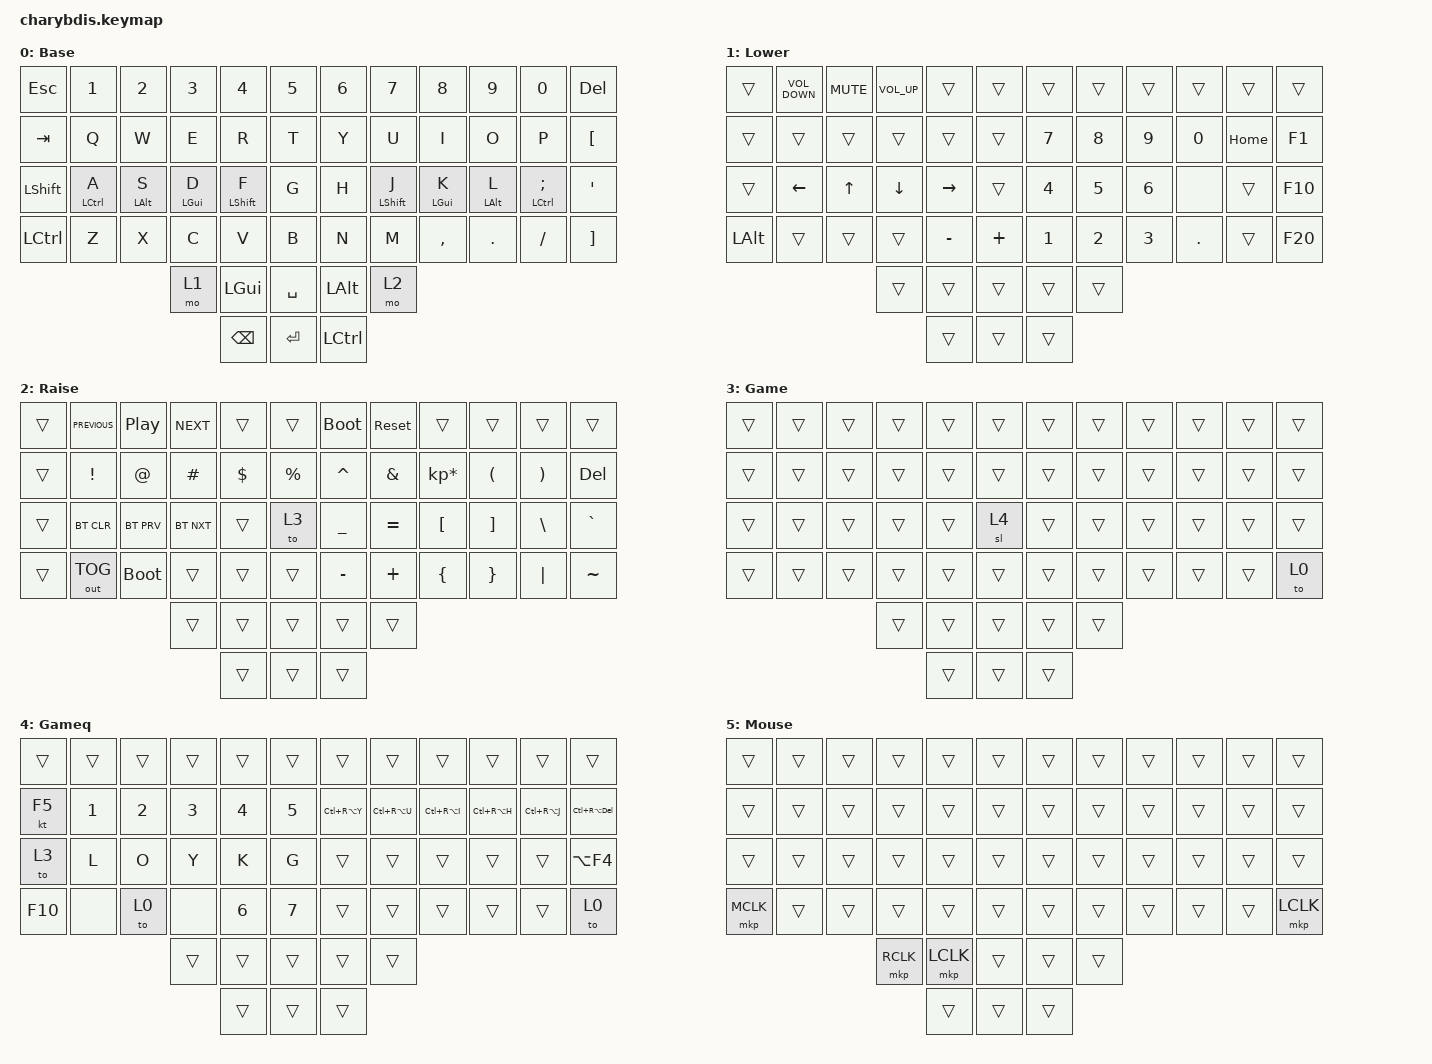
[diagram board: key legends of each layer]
#include <behaviors.dtsi>
#include <dt-bindings/zmk/keys.h>
#include <dt-bindings/zmk/bt.h>
#include <dt-bindings/zmk/ext_power.h>
#include <dt-bindings/zmk/mouse.h>
#include <dt-bindings/zmk/outputs.h>

/ {
    combos {
        compatible = "zmk,combos";

        ParaLeft {
            bindings = <&kp LEFT_PARENTHESIS>;
            key-positions = <4 16>;
        };

        ParaRight {
            bindings = <&kp RIGHT_PARENTHESIS>;
            key-positions = <7 19>;
        };

        bootloaderLeft {
            bindings = <&bootloader>;
            key-positions = <0 13>;
        };
        bootloaderRight {
            bindings = <&bootloader>;
            key-positions = <11 22>;
        };
        resetLeft {
            bindings = <&sys_reset>;
            key-positions = <0 12>;
        };
        resetRight {
            bindings = <&sys_reset>;
            key-positions = <11 23>;
        };
    };

    trackball_listener {
        compatible = "zmk,input-behavior-listener";
        device = <&vtrackball>;
        layers = <0 2 3 4 5>;
        evt-type = <INPUT_EV_REL>;
        x-input-code = <INPUT_REL_X>;
        y-input-code = <INPUT_REL_Y>;
        scale-multiplier = <1>;
        scale-divisor = <1>;
        bindings = <&ib_toggle_layer 5>;
    };

    trackball_snipe_listener {
        compatible = "zmk,input-behavior-listener";   
        device = <&vtrackball>;
        layers = <>;
        evt-type = <INPUT_EV_REL>;
        x-input-code = <INPUT_REL_X>;
        y-input-code = <INPUT_REL_Y>;
        scale-multiplier = <1>;
        scale-divisor = <4>;
    };

    trackball_scroll_listener {
        compatible = "zmk,input-behavior-listener";
        device = <&vtrackball>;
        layers = <1>;
        evt-type = <INPUT_EV_REL>;            
        x-input-code = <INPUT_REL_MISC>;
        y-input-code = <INPUT_REL_WHEEL>;
        y-invert;
        bindings = <&ib_wheel_scaler 1 16>;
    };

    ib_wheel_scaler: ib_wheel_scaler {
        compatible = "zmk,input-behavior-scaler";
        #binding-cells = <2>;
        evt-type = <INPUT_EV_REL>;
        input-code = <INPUT_REL_WHEEL>;
    };

    ib_toggle_layer: ib_toggle_layer {
        compatible = "zmk,input-behavior-tog-layer";
        #binding-cells = <1>;
        time-to-live-ms = <750>;
    };

    behaviors {
        lt: layer_tap {
            compatible = "zmk,behavior-hold-tap";
            #binding-cells = <2>;
            flavor = "balanced";
            tapping-term-ms = <240>;
            quick-tap-ms = <150>;
            bindings = 
                <&mo>,
                <&kp>;
        };

        rpi: require_prior_idle {
            compatible = "zmk,behavior-hold-tap";
            #binding-cells = <2>;
            flavor = "tap-preferred";
            tapping-term-ms = <200>;
            quick-tap-ms = <200>;
            require-prior-idle-ms = <125>;
            bindings = <&kp>, <&kp>;
        };
    };

    keymap {
        compatible = "zmk,keymap";

        Base {
            label = "Base";
            display-name = "Base";
            bindings = <
            // ╭─────────────┬─────────────────┬────────────────┬───────────────┬───────────────┬─────────────╮   ╭─────────────┬─────────────┬─────────────┬─────────────┬─────────────┬─────────────╮
                   &kp ESC          &kp N1         &kp N2        &kp N3          &kp N4        &kp N5            &kp N6        &kp N7        &kp N8        &kp N9        &kp N0       &kp DEL
            // ├─────────────┼─────────────────┼───────────────────┼───────────────┼───────────────┼─────────────┤   ├─────────────┼─────────────┼─────────────┼─────────────┼─────────────┼─────────────┤
                   &kp TAB          &kp Q               &kp W         &kp E         &kp R            &kp T             &kp Y         &kp U         &kp I         &kp O         &kp P      &kp LEFT_BRACKET
            // ├─────────────┼─────────────────┼───────────────────┼───────────────┼───────────────┼─────────────┤   ├─────────────┼─────────────┼─────────────┼─────────────┼─────────────┼─────────────┤
                  &kp LSHFT      &rpi LCTRL A     &rpi LEFT_ALT S    &rpi LEFT_GUI D    &rpi LSHFT F    &kp G             &kp H       &rpi LSHFT J   &rpi LEFT_GUI K     &rpi LEFT_ALT L       &rpi LCTRL SEMI      &kp APOS
            // ├─────────────┼─────────────────┼───────────────────┼───────────────┼───────────────┼─────────────┤   ├─────────────┼─────────────┼─────────────┼─────────────┼─────────────┼─────────────┤
                  &kp LCTRL      &kp Z          &kp X         &kp C         &kp V         &kp B             &kp N         &kp M      &kp COMMA      &kp DOT       &kp FSLH     &kp RIGHT_BRACKET
            // ╰─────────────┴─────────────┼─────────────┼───────────────┼───────────────┼─────────────┤   ├─────────────┼─────────────┼─────────────┼─────────────┼─────────────┴─────────────╯
                                                              &mo 1       &kp LEFT_GUI    &kp SPACE        &kp LEFT_ALT     &mo 2
            //                                           ╰───────────────┤──────────────┤─────────────┤   ├─────────────┼─────────────╯
                                                                              &kp BSPC       &kp RET         &kp LCTRL
            //                                                           ╰───────────────┴─────────────╯   ╰─────────────╯
            >;
        };

        Lower {
            label = "Lower";
            display-name = "Lower";
            bindings = <
            // ╭─────────────┬─────────────┬─────────────┬─────────────┬─────────────┬─────────────╮   ╭─────────────┬─────────────┬─────────────┬─────────────┬─────────────┬─────────────╮
                   &trans      &kp C_VOLUME_DOWN    &kp C_MUTE  &kp C_VOLUME_UP       &trans          &trans         &trans       &trans         &trans        &trans        &trans        &trans
            // ├─────────────┼─────────────┼─────────────┼─────────────┼─────────────┼─────────────┤   ├─────────────┼─────────────┼─────────────┼─────────────┼─────────────┼─────────────┤
                   &trans         &trans        &trans        &trans       &trans         &trans           &kp N7       &kp N8         &kp N9        &kp N0        &kp HOME      &kp F1
            // ├─────────────┼─────────────┼─────────────┼─────────────┼─────────────┼─────────────┤   ├─────────────┼─────────────┼─────────────┼─────────────┼─────────────┼─────────────┤
                   &trans       &kp LEFT        &kp UP       &kp DOWN    &kp RIGHT        &trans           &kp N4       &kp N5         &kp N6        &none         &trans        &kp F10
            // ├─────────────┼─────────────┼─────────────┼─────────────┼─────────────┼─────────────┤   ├─────────────┼─────────────┼─────────────┼─────────────┼─────────────┼─────────────┤
                 &kp LEFT_ALT    &trans        &trans         &trans      &kp MINUS      &kp PLUS          &kp N1       &kp N2         &kp N3        &kp DOT       &trans        &kp F20
            // ╰─────────────┴─────────────┼─────────────┼─────────────┼─────────────┼─────────────┤   ├─────────────┼─────────────┼─────────────┼─────────────┼─────────────┴─────────────╯
                                                              &trans       &trans         &trans            &trans        &trans
            //                                           ╰─────────────┤─────────────┤─────────────┤   ├─────────────┼─────────────╯
                                                                           &trans         &trans            &trans
            //                                                         ╰─────────────┴─────────────╯   ╰─────────────╯
            >;
        };

        Raise {
            label = "Raise";
            display-name = "Raise";
            bindings = <
            // ╭─────────────┬─────────────┬─────────────────┬─────────────┬─────────────┬─────────────╮   ╭─────────────┬─────────────┬─────────────┬─────────────┬─────────────┬─────────────╮
                   &trans      &kp C_PREVIOUS      &kp C_PLAY_PAUSE  &kp C_NEXT      &trans       &trans          &bootloader    &sys_reset     &trans        &trans        &trans        &trans
            // ├─────────────┼─────────────┼─────────────────┼─────────────┼─────────────┼─────────────┤   ├─────────────┼─────────────┼─────────────┼─────────────┼─────────────┼─────────────┤
                   &trans        &kp EXCL       &kp AT           &kp HASH       &kp DLLR     &kp PRCNT         &kp CARET      &kp AMPS    &kp KP_MULTIPLY &kp LPAR      &kp RPAR      &kp DEL
            // ├─────────────┼─────────────┼─────────────────┼─────────────┼─────────────┼─────────────┤   ├─────────────┼─────────────┼─────────────┼─────────────┼─────────────┼─────────────┤
                   &trans      &bt BT_CLR    &bt BT_PRV        &bt BT_NXT       &trans        &to 3           &kp UNDER     &kp EQUAL     &kp LBKT      &kp RBKT      &kp BSLH      &kp GRAVE
            // ├─────────────┼─────────────┼─────────────────┼─────────────┼─────────────┼─────────────┤   ├─────────────┼─────────────┼─────────────┼─────────────┼─────────────┼─────────────┤
                   &trans     &out OUT_TOG   &bootloader        &trans         &trans       &trans           &kp MINUS      &kp PLUS     &kp LBRC      &kp RBRC      &kp PIPE      &kp TILDE
            // ╰─────────────┴─────────────┼────────────────┼─────────────┼─────────────┼─────────────┤   ├─────────────┼─────────────┼─────────────┼─────────────┼─────────────┴─────────────╯
                                                              &trans        &trans       &trans            &trans        &trans
            //                                              ╰─────────────┤─────────────┤─────────────┤   ├─────────────┼─────────────╯
                                                                            &trans       &trans            &trans
            //                                                            ╰─────────────┴─────────────╯   ╰─────────────╯
            >;
        };

        Game {
            label = "Game";
            display-name = "Game";
            bindings = <
            // ╭─────────────┬─────────────┬─────────────┬─────────────┬─────────────┬─────────────╮   ╭─────────────┬─────────────┬─────────────┬─────────────┬─────────────┬─────────────╮
                   &trans        &trans         &trans       &trans         &trans       &trans           &trans         &trans         &trans        &trans        &trans        &trans
            // ├─────────────┼─────────────┼─────────────┼─────────────┼─────────────┼─────────────┤   ├─────────────┼─────────────┼─────────────┼─────────────┼─────────────┼─────────────┤
                   &trans        &trans         &trans       &trans         &trans       &trans           &trans         &trans         &trans        &trans        &trans        &trans
            // ├─────────────┼─────────────┼─────────────┼─────────────┼─────────────┼─────────────┤   ├─────────────┼─────────────┼─────────────┼─────────────┼─────────────┼─────────────┤
                   &trans        &trans         &trans       &trans         &trans        &sl 4           &trans         &trans         &trans        &trans        &trans        &trans
            // ├─────────────┼─────────────┼─────────────┼─────────────┼─────────────┼─────────────┤   ├─────────────┼─────────────┼─────────────┼─────────────┼─────────────┼─────────────┤
                   &trans        &trans         &trans       &trans         &trans       &trans           &trans         &trans         &trans        &trans        &trans        &to 0
            // ╰─────────────┴─────────────┼─────────────┼─────────────┼─────────────┼─────────────┤   ├─────────────┼─────────────┼─────────────┼─────────────┼─────────────┴─────────────╯
                                                              &trans       &trans         &trans            &trans        &trans    
            //                                           ╰─────────────┤─────────────┤─────────────┤   ├─────────────┼─────────────╯
                                                                            &trans        &trans            &trans
            //                                                         ╰─────────────┴─────────────╯   ╰─────────────╯
            >;
        };

        Game_++ {
            label = "Game ++";
            display-name = "Gameq";
            bindings = <
            // ╭─────────────┬─────────────┬─────────────┬─────────────┬─────────────┬─────────────╮   ╭─────────────┬─────────────┬─────────────┬─────────────┬─────────────┬─────────────╮
                   &trans        &trans         &trans       &trans         &trans       &trans           &trans         &trans         &trans        &trans        &trans        &trans
            // ├─────────────┼─────────────┼─────────────┼─────────────┼─────────────┼─────────────┤   ├─────────────┼─────────────┼─────────────┼─────────────┼─────────────┼─────────────┤
                   &kt F5      &kp NUMBER_1  &kp NUMBER_2  &kp NUMBER_3  &kp NUMBER_4  &kp NUMBER_5     &kp LC(RA(Y))  &kp LC(RA(U)) &kp LC(RA(I)) &kp LC(RA(H)) &kp LC(RA(J)) &kp LC(RA(DEL))
            // ├─────────────┼─────────────┼─────────────┼─────────────┼─────────────┼─────────────┤   ├─────────────┼─────────────┼─────────────┼─────────────┼─────────────┼─────────────┤
                    &to 3         &kp L         &kp O         &kp Y         &kp K         &kp G            &trans        &trans        &trans        &trans        &trans       &kp LA(F4)
            // ├─────────────┼─────────────┼─────────────┼─────────────┼─────────────┼─────────────┤   ├─────────────┼─────────────┼─────────────┼─────────────┼─────────────┼─────────────┤
                   &kp F10        &none         &to 0        &none       &kp NUMBER_6  &kp NUMBER_7        &trans        &trans        &trans        &trans        &trans         &to 0
            // ╰─────────────┴─────────────┼─────────────┼─────────────┼─────────────┼─────────────┤   ├─────────────┼─────────────┼─────────────┼─────────────┼─────────────┴─────────────╯
                                                              &trans       &trans         &trans           &trans        &trans
            //                                           ╰─────────────┤─────────────┤─────────────┤   ├─────────────┼─────────────╯
                                                                            &trans        &trans           &trans
            //                                                         ╰─────────────┴─────────────╯   ╰─────────────╯
            >;
        };

        Mouse {
            display-name = "Mouse";
            bindings = <
            // ╭─────────────┬─────────────┬─────────────┬─────────────┬─────────────┬─────────────╮   ╭─────────────┬─────────────┬─────────────┬─────────────┬─────────────┬─────────────╮
                   &trans         &trans       &trans         &trans       &trans         &trans           &trans       &trans         &trans        &trans        &trans        &trans
            // ├─────────────┼─────────────┼─────────────┼─────────────┼─────────────┼─────────────┤   ├─────────────┼─────────────┼─────────────┼─────────────┼─────────────┼─────────────┤
                   &trans         &trans       &trans         &trans       &trans         &trans           &trans       &trans         &trans        &trans        &trans        &trans
            // ├─────────────┼─────────────┼─────────────┼─────────────┼─────────────┼─────────────┤   ├─────────────┼─────────────┼─────────────┼─────────────┼─────────────┼─────────────┤
                   &trans         &trans       &trans         &trans       &trans         &trans           &trans       &trans         &trans        &trans        &trans        &trans
            // ├─────────────┼─────────────┼─────────────┼─────────────┼─────────────┼─────────────┤   ├─────────────┼─────────────┼─────────────┼─────────────┼─────────────┼─────────────┤
                  &mkp MCLK       &trans       &trans         &trans       &trans         &trans           &trans       &trans         &trans        &trans        &trans       &mkp LCLK
            // ╰─────────────┴─────────────┼─────────────┼─────────────┼─────────────┼─────────────┤   ├─────────────┼─────────────┼─────────────┼─────────────┼─────────────┴─────────────╯
                                                            &mkp RCLK     &mkp LCLK      &trans           &trans        &trans
            //                                           ╰─────────────┤─────────────┤─────────────┤   ├─────────────┼─────────────╯
                                                                            &trans        &trans           &trans
            //                                                         ╰─────────────┴─────────────╯   ╰─────────────╯
            >;
        };
    };
};
